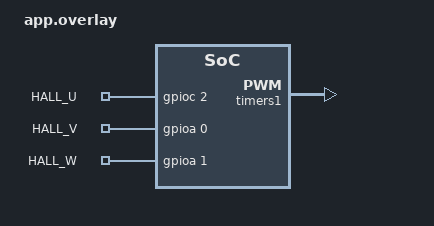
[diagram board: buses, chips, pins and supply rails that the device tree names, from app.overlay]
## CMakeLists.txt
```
cmake_minimum_required(VERSION 3.20.0)
find_package(Zephyr REQUIRED HINTS $ENV{ZEPHYR_BASE})
project(remote_motor_fw)

zephyr_include_directories(${CMAKE_CURRENT_SOURCE_DIR}/include)

target_sources(app PRIVATE
  src/main.c
  src/bluetooth/bluetooth.c
  src/watchdog/watchdog.c
  src/motor/motor.c

  src/motor_control/motor_control.c
  src/motor_control/pid.c

  src/motor_control/bldc_driver.c
  #src/simulation/bldc_driver_sim.c
)
```

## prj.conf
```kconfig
# =============================================================================
# prj.conf — STM32WB55 BLDC Motor Controller
#
# The STM32WB55 is a DUAL-CORE chip:
#   Cortex-M4  @ 64 MHz — runs this Zephyr application (motor + BLE host)
#   Cortex-M0+ @ 32 MHz — runs the ST BLE coprocessor firmware (HCI layer)
#
# BLE on the WB55 works completely differently from a single-core STM32:
#   - The M0+ handles all RF/PHY/LL work via ST's closed-source coprocessor binary
#   - The M4 (Zephyr) talks to the M0+ over IPCC (inter-processor communication)
#   - Zephyr uses the CONFIG_BT_STM32_IPM driver for this — NOT a software stack
#   - CONFIG_BT_LL_SW_SPLIT must NOT be set (that's for chips with no coprocessor)
#
# CRITICAL HARDWARE STEP before this firmware will work:
#   Flash the M0+ coprocessor with the HCI-only binary from STM32CubeWB:
#   File: stm32wb5x_BLE_HCILayer_extended_fw.bin   (use "extended" variant)
#   Tool: STM32CubeProgrammer → Firmware Upgrade Services
#   Address: see hal_stm32/lib/stm32wb/README.rst for exact flash address
#   WARNING: Since STM32CubeWB V1.13.2, "Full Stack" binaries are NOT
#            compatible with Zephyr. Use HCI Layer only.
# =============================================================================

# =============================================================================
# SYSTEM
# =============================================================================
CONFIG_MAIN_STACK_SIZE=4096
CONFIG_SYSTEM_WORKQUEUE_STACK_SIZE=2048

# Minimal libc is sufficient — printf replaced with LOG_DBG throughout
CONFIG_MINIMAL_LIBC=y

# FPU: WB55 Cortex-M4 has hardware FPU — enable it for float PID math
CONFIG_FPU=y
CONFIG_FPU_SHARING=y

# =============================================================================
# BLUETOOTH — STM32WB55 IPM (inter-processor mailbox) driver
#
# On the WB55 the board DTS already selects CONFIG_BT_STM32_IPM automatically
# when CONFIG_BT=y. These settings below configure the host layer on the M4.
# =============================================================================
CONFIG_BT=y
CONFIG_BT_PERIPHERAL=y
CONFIG_BT_DEVICE_NAME="MOTORSRV"

# DO NOT enable CONFIG_BT_LL_SW_SPLIT — that enables a software BLE controller
# which conflicts with the WB55's hardware M0+ coprocessor via IPM.

# Extended advertising not needed for a simple connectable peripheral
CONFIG_BT_EXT_ADV=n

# Let the stack negotiate optimal connection parameters after linking
CONFIG_BT_GAP_AUTO_UPDATE_CONN_PARAMS=y

# Increase RX buffer count — the IPM transport can burst multiple packets
# before the M4 processes them; default of 3 can cause drops under load
CONFIG_BT_BUF_ACL_RX_COUNT=6

# ATT prepare queue — needed for reliable multi-packet GATT writes
CONFIG_BT_ATT_PREPARE_COUNT=2

# IPCC mailbox driver (automatically selected by board DTS, listed for clarity)
# CONFIG_IPM=y                    ← set by board
# CONFIG_IPM_STM32_HSEM=y         ← set by board
# CONFIG_BT_STM32_IPM=y           ← set by board

# =============================================================================
# HARDWARE PERIPHERALS
# =============================================================================
CONFIG_GPIO=y
CONFIG_PINCTRL=y
CONFIG_HWINFO=y          # Used in bluetooth.c for unique device ID in MSD

# PWM node declared in overlay for pin mux only; LL API drives TIM1 directly
CONFIG_PWM=y
CONFIG_PWM_STM32=y

# ADC not used — re-enable with CONFIG_ADC_STM32=y if current sensing is added
# CONFIG_ADC=y

# =============================================================================
# SERIAL CONSOLE
# USART1 on PA9/PA10 is the default console on WB55 boards.
# Note: PA9/PA10 are also TIM1_CH2/CH3. If you're using USART1 for debug,
# move your PWM outputs or your console UART to different pins.
# =============================================================================
CONFIG_SERIAL=y
CONFIG_CONSOLE=y
CONFIG_UART_CONSOLE=y
CONFIG_STDOUT_CONSOLE=y

# =============================================================================
# LOGGING
# =============================================================================
CONFIG_LOG=y
CONFIG_LOG_BACKEND_UART=y

# CRITICAL: Deferred mode — log calls return immediately, background thread
# does the UART work. Without this, LOG_x() in the 100Hz PID loop blocks
# inline and destroys control timing.
CONFIG_LOG_MODE_DEFERRED=y

# 4KB buffer: holds queued messages from PID thread (3 logs/cycle @ 100Hz)
# plus BLE connection events. 2KB is too small and drops messages.
CONFIG_LOG_BUFFER_SIZE=4096

CONFIG_LOG_PRINTK=y
CONFIG_PRINTK=y

# 0=off  1=error  2=warn  3=info  4=debug
CONFIG_LOG_DEFAULT_LEVEL=3

# Per-module overrides — uncomment to debug specific subsystems:
# CONFIG_BT_LOG_LEVEL=2
# CONFIG_LOG_OVERRIDE_LEVEL=4    # forces all modules to debug (very verbose)

# =============================================================================
# DEVELOPMENT / DEBUG — disable before production release
# =============================================================================

# Stack canary: panics with a clear message on overflow instead of silent
# memory corruption. Essential during development on all threads.
CONFIG_STACK_SENTINEL=y

# Thread analyzer: shows high-water stack usage per thread.
# Run once to verify STACK_SIZE values, then disable.
# CONFIG_THREAD_ANALYZER=y
# CONFIG_THREAD_ANALYZER_AUTO=y
# CONFIG_THREAD_ANALYZER_AUTO_INTERVAL=30

# Hardware watchdog — feeds independently of BLE watchdog; resets the
# entire chip if ANY thread hangs (PID, telemetry, or BLE host thread)
# CONFIG_WATCHDOG=y
# CONFIG_WDT_DISABLE_AT_BOOT=n
```

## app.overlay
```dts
/*
 * app.overlay — STM32WB55 BLDC Motor Controller
 *
 * CPU:   Cortex-M4 @ 64 MHz (via PLL from 32 MHz HSE)
 * TIM1:  on APB2 — clock = 64 MHz (APB2 prescaler = 1, no x2 multiplier)
 *        ARR = 3200 → PWM freq = 64,000,000 / 3200 = 20 kHz  ✓
 *
 * NOTE: The original code had TIM1_ARR=1500 assuming a 30MHz clock.
 *       On the WB55 running at 64MHz with APB2 prescaler=1, ARR must be
 *       3200 to maintain 20kHz. Update TIM1_ARR in bldc_driver.c to 3200
 *       and the dead-time / RPM scale factor accordingly.
 *
 * RPM scale factor with ARR=3200:
 *   bldc_percent_to_pulse: pulse = percent * (3200 / 100.0) = percent * 32.0f
 *   Update bldc_percent_to_pulse() in bldc_driver.c to use 32.0f instead of 15.0f
 *
 * Dead-time at 64MHz: 50 ticks = 50/64MHz = ~781ns — acceptable for most
 * gate drivers. Increase if your gate driver bootstrap needs more hold time.
 */

/ {
    aliases {
        hall-u = &hall_u_pin;
        hall-v = &hall_v_pin;
        hall-w = &hall_w_pin;
    };

    /*
     * Hall sensors as gpio-keys.
     * Pull resistors are configured at runtime in bldc_driver.c via
     * GPIO_INPUT | GPIO_PULL_UP. Do NOT duplicate pull flags here.
     */
    hall_sensors {
        compatible = "gpio-keys";

        hall_u_pin: hall_u {
            gpios = <&gpioc 2 GPIO_ACTIVE_HIGH>;  /* PC2 */
            label = "HALL_U";
        };
        hall_v_pin: hall_v {
            gpios = <&gpioa 0 GPIO_ACTIVE_HIGH>;  /* PA0 */
            label = "HALL_V";
        };
        hall_w_pin: hall_w {
            gpios = <&gpioa 1 GPIO_ACTIVE_HIGH>;  /* PA1 */
            label = "HALL_W";
        };
    };
};

/*
 * Clock tree for STM32WB55 (must match prj.conf RCC settings):
 *   HSE = 32 MHz → PLL (×2) → SYSCLK = 64 MHz
 *   AHB  prescaler = 1 → HCLK  = 64 MHz
 *   APB1 prescaler = 1 → PCLK1 = 64 MHz  (TIM2/LPTIM used for Zephyr tick)
 *   APB2 prescaler = 1 → PCLK2 = 64 MHz  (TIM1 lives here)
 *
 * On STM32WB55 the APB timer multiplier (×2) only activates when the APB
 * prescaler > 1. With prescaler = 1, TIM1 clock = PCLK2 = 64 MHz exactly.
 */
&rcc {
    clocks = <&pll>;
    clock-frequency = <DT_FREQ_M(64)>;
    cpu1-prescaler  = <1>;
    cpu2-prescaler  = <2>;   /* M0+ BLE coprocessor runs at 32 MHz */
    ahb4-prescaler  = <1>;
    apb1-prescaler  = <1>;
    apb2-prescaler  = <1>;
};

&pll {
    div-m  = <2>;   /* HSE 32MHz / 2 = 16 MHz VCO input        */
    mul-n  = <8>;   /* 16 MHz × 8   = 128 MHz VCO output       */
    div-q  = <2>;   /* 128 / 2      = 64 MHz (USB/RNG clock)   */
    div-r  = <2>;   /* 128 / 2      = 64 MHz SYSCLK            */
    clocks = <&clk_hse>;
    status = "okay";
};

/*
 * TIM1 — Advanced Motor Control Timer @ 64 MHz
 *
 * The pwm child node exists only to trigger Zephyr's pinctrl driver to
 * configure AF muxing at boot. All register-level PWM control is done
 * directly in bldc_driver.c via the STM32 LL API.
 */
&timers1 {
    status = "okay";

    pwm1: pwm {
        status = "okay";
        pinctrl-0 = <&pwm1_ch1_pa8   &pwm1_ch2_pa9   &pwm1_ch3_pa10
                     &pwm1_ch1n_pb13  &pwm1_ch2n_pb14  &pwm1_ch3n_pb15>;
        pinctrl-names = "default";
    };
};

/*
 * Pin multiplexing — TIM1 PWM outputs
 *
 * PA8/9/10  = high-side (CH1/2/3)
 * PB13/14/15 = low-side complementary (CH1N/2N/3N)
 *
 * drive-push-pull is correct for actively driven AF output pins.
 * Do NOT use bias-pull-down — it fights the active driver and
 * degrades gate drive switching edges.
 */
&pinctrl {

    /* High-side switches */
    pwm1_ch1_pa8: pwm1_ch1_pa8 {
        pinmux = <STM32_PINMUX('A', 8,  AF1)>;  /* TIM1_CH1  — Phase U high */
        drive-push-pull;
    };
    pwm1_ch2_pa9: pwm1_ch2_pa9 {
        pinmux = <STM32_PINMUX('A', 9,  AF1)>;  /* TIM1_CH2  — Phase V high */
        drive-push-pull;
    };
    pwm1_ch3_pa10: pwm1_ch3_pa10 {
        pinmux = <STM32_PINMUX('A', 10, AF1)>;  /* TIM1_CH3  — Phase W high */
        drive-push-pull;
    };

    /* Low-side switches (complementary) */
    pwm1_ch1n_pb13: pwm1_ch1n_pb13 {
        pinmux = <STM32_PINMUX('B', 13, AF1)>;  /* TIM1_CH1N — Phase U low */
        drive-push-pull;
    };
    pwm1_ch2n_pb14: pwm1_ch2n_pb14 {
        pinmux = <STM32_PINMUX('B', 14, AF1)>;  /* TIM1_CH2N — Phase V low */
        drive-push-pull;
    };
    pwm1_ch3n_pb15: pwm1_ch3n_pb15 {
        pinmux = <STM32_PINMUX('B', 15, AF1)>;  /* TIM1_CH3N — Phase W low */
        drive-push-pull;
    };
};
```

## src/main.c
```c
#include <zephyr/types.h>
#include <stddef.h>
#include <string.h>
#include <errno.h>
#include <zephyr/sys/printk.h>
#include <zephyr/kernel.h>
#include <zephyr/drivers/gpio.h>
#include <zephyr/logging/log.h>
#include <zephyr/drivers/hwinfo.h>
#include <stdio.h>

#include "bluetooth.h"
#include "watchdog.h"
#include "motor.h"
#include "bldc_driver.h"
#include "motor_control.h"


LOG_MODULE_REGISTER(main, LOG_LEVEL_INF);


int main(void)
{
    LOG_INF("Starting BLDC Hardware Motor Control Application");    

    // Initialize the Motor Data Structures (Safe API Vault)
    motor_init(); 

    // Initialize Real Hardware (PWM & ADC peripherals)
    int hw_err = bldc_driver_init();
    if (hw_err != 0) {
        LOG_ERR("Hardware init failed! Check Device Tree. (err %d)", hw_err);
        // Depending on your safety requirements, you might want to halt here.
        return 0; 
    }

    // Start the Real Motor Control Threads (Commutation, Hall Monitor, PID)
    motor_control_init();

    // Initialize Bluetooth
    int err = bt_enable(bt_ready);
    if (err) {
        LOG_ERR("Bluetooth init failed (err %d)", err);
        return 0;
    }

    // Register Callbacks & Start Watchdog
    bt_conn_cb_register(&conn_callbacks);
    watchdog_init();

    LOG_INF("System Boot Complete. Waiting for Bluetooth connection...");

    return 0;
}
```

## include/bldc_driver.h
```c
#ifndef BLDC_DRIVER_H
#define BLDC_DRIVER_H

#include <stdint.h>
#include <stdbool.h>
#include <zephyr/sys/atomic.h>

extern atomic_t g_motor_speed_atomic;

/* ========================================================================= *
 * BLDC DRIVER — Public API                                                  *
 * ========================================================================= */

/** @brief Initialise GPIOs, TIM1, and hall sensor ISRs. Call once at boot.
 *  @return 0 on success, negative errno on failure.
 */
int bldc_driver_init(void);

/** @brief Set PWM pulse width directly (0 – TIM1_ARR).
 *  @param pulse Raw timer compare value; clamped internally.
 */
void bldc_set_pwm(int pulse);

/** @brief Apply the correct phase switching pattern for the given hall step.
 *  @param step  Hall state (1–6 CW, 9–14 CCW). Invalid states are ignored.
 */
void bldc_set_commutation(uint8_t step);

/** @brief Read the three hall sensor GPIOs and return a 3-bit state (0–7).
 *  @return Combined state: (U<<2)|(V<<1)|W. Caller must reject 0 and 7.
 */
int bldc_read_hall_state(void);

/** @brief Convert a PWM duty-cycle percentage to a raw timer pulse value.
 *  @param percent_duty_cycle  0.0 – 100.0 %
 *  @return Raw pulse value clamped to [0, TIM1_ARR].
 */
int bldc_percent_to_pulse(float percent_duty_cycle);

/** @brief Return the CPU cycle count captured at the last valid hall edge.
 *  @note  Returns an atomic snapshot; safe to call from any thread.
 */
uint32_t bldc_get_last_cycle_count(void);

/** @brief Set motor rotation direction.
 *  @param ccw  0 = clockwise, 1 = counter-clockwise.
 */
void bldc_set_direction(int ccw);

#endif /* BLDC_DRIVER_H */
```

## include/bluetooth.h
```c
#ifndef BLUETOOTH_H
#define BLUETOOTH_H

#include <stdbool.h>
#include <zephyr/types.h>
#include <zephyr/bluetooth/bluetooth.h>
#include <zephyr/bluetooth/conn.h>
#include <zephyr/bluetooth/gatt.h>
#include <zephyr/bluetooth/uuid.h>

/* ========================================================================= *
 * COMPANY & SERVICE IDENTIFIERS                                             *
 * ========================================================================= */

#define MY_COMPANY_ID 0x706D   // Manufacturer-specific data company ID

/* 128-bit service and characteristic UUIDs */
#define BT_UUID_MOTOR_SERVICE_VAL \
    BT_UUID_128_ENCODE(0xc52081ba, 0xe90f, 0x40e4, 0xa99f, 0xccaa4fd11c15)

#define BT_UUID_MOTOR_CMD_VAL \
    BT_UUID_128_ENCODE(0xd10b46cd, 0x412a, 0x4d15, 0xa7bb, 0x092a329eed46)

#define BT_UUID_MOTOR_TELEMETRY_VAL \
    BT_UUID_128_ENCODE(0x17da15e5, 0x05b1, 0x42df, 0x8d9d, 0xd7645d6d9293)

#define BT_UUID_MOTOR_HEARTBEAT_VAL \
    BT_UUID_128_ENCODE(0x2215d558, 0xc569, 0x4bd1, 0x8947, 0xb4fd5f9432a0)

/* ========================================================================= *
 * BLE COMMAND OPCODES                                                       *
 * Sent as the first byte of a write to the CMD characteristic.             *
 * ========================================================================= */
typedef enum {
    MOTOR_MODE_OFF      = 0x00,
    MOTOR_MODE_INIT     = 0x01,
    MOTOR_MODE_SPEED    = 0x02,
    MOTOR_MODE_POSITION = 0x03,
} motor_cmd_t;

/* ========================================================================= *
 * APPLICATION CONTEXT                                                       *
 * ========================================================================= */

/** Internal BLE state. Do not access directly outside bluetooth.c. */
struct motor_app_ctx {
    bool    notification_enabled;   // True once client subscribes to telemetry
    uint8_t heartbeat_val;          // Last heartbeat counter value from phone
};

/* ========================================================================= *
 * PUBLIC API                                                                *
 * ========================================================================= */

/** @brief Bluetooth ready callback — pass to bt_enable().
 *  Initialises context, starts advertising, and logs status.
 */
void bt_ready(int err);

/** @brief Send a telemetry notification to the connected device.
 *  No-op if notifications are not enabled.
 */
void motor_notify_telemetry(void);

/** @brief Return the last heartbeat counter received from the phone. */
uint8_t bt_get_heartbeat(void);

/** @brief Return true if the client has subscribed to telemetry notifications. */
bool bt_is_notify_enabled(void);

/** Connection callbacks — must be registered in main.c via
 *  bt_conn_cb_register(&conn_callbacks).
 */
extern struct bt_conn_cb conn_callbacks;

#endif /* BLUETOOTH_H */
```

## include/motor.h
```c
#ifndef MOTOR_H_
#define MOTOR_H_

#include <zephyr/types.h>
#include <stdbool.h>

#define RPM_MAX     6000
#define RPM_MIN     -6000

// MOTOR STATUS ARCHITECTURE

// LOWER NIBBLE: MUTUALLY EXCLUSIVE MOTOR STATES (BITS 0-3) - WHAT IS THE MOTOR DOING (THIS IS THE ACTUAL TRUE STATE OF THE MOTOR)
#define MOTOR_STATE_STOPPED			0x00	// 0000
#define MOTOR_STATE_RUNNING_SPEED	0x01	// 0001 - MOTOR IS ATTEMPTING TO REACH A CERTAIN RPM
#define MOTOR_STATE_RUNNING_POS		0x02	// 0010 - MOTOR IS ATTEMPTING TO REACH A CERTAIN POS
#define MOTOR_STATE_ESTOP			0x03	// 0010 (EMERGENCY STOP)
#define MOTOR_STATE_RESTART			0x04	// 0100 (SOFT START/CALIBRATING)
#define MOTOR_STATE_FAULT			0x05	// 0101 (HARDWARE FAILURE)

#define MOTOR_STATE_MASK			0x0F	// 0000 1111 (ISOLATE THE MOTOR STATE)

// UPPER NIBBLE: DIAGNOSTIC FLAGS (BITS 4-7) - CHECK IF THERE ARE ANY WARNINGS/ISSUES REGARDING THE MOTOR
#define MOTOR_FLAG_SYNC_BAD			0x10	// 0001 0000 
#define MOTOR_FLAG_OVERHEAT			0x20	// 0010 0000
/** @todo ADD FLAG FOR MOTOR STALL -> ACTUAL RPM = 0, TARGET != 0; motor cannot move*/


#define MOTOR_FLAG_MASK				0xF0	// 1111 0000 - ISOLATE FLAGS



struct motor_stats{

	// SET POINTS - TARGETED VALUES FOR THE MOTOR
	uint8_t target_state;		// STATE THAT WE WANT THE MOTOR TO BE IN
	int32_t target_speed;		// REQUESTED RPM
	int32_t target_position;	// REQUESTED ANGLE

	// ACTUAL MOTOR STATS - FEEDBACK FROM THE HARDWARE, ACTUAL READINGS
	// STATUS OF MOTOR [FLAGS (4 bits) | STATE (4-bits)]
	uint8_t motor_status;

	// CURRENT SPEED OF MOTOR (RPM)
	int32_t current_speed;

	// CURRENT POSITION OF MOTOR (Degrees)
	int32_t current_position;

	// FILTERED SPEED OF MOTOR (RPM) 
	int32_t filtered_speed;
};


// PUBLIC API - MOTOR CONTROL
/** @brief Initialize motor hardware and clear stats */
void motor_init(void);

// ACTUAL MOTOR STAT SETTERS
/** @brief SET THE MOTOR'S RPM (THIS IS THE ACTUAL & TRUE VALUE OF THE MOTOR) */
void motor_set_speed(int32_t rpm);

void motor_set_filtered_speed(int32_t rpm);


/** @brief SET THE MOTOR'S POSITION (THIS IS THE ACTUAL VALUE OF THE MOTOR) */
void motor_set_position(int32_t degrees);

void motor_set_sync_warning(bool active);
void motor_set_overheat_warning(bool active);

/** @brief SET THE MOTOR INTO AN EMERGENCY STOP -> SET TARGET/ACTUAL STATE TO ESTOP AND TARGET SPEED TO 0 RPM*/
void motor_trigger_estop();

// TARGETED SETTERS
/** @brief SET THE DESIRED MOTOR RPM (STILL NEED TO SET THE TARGET STATE) */
void motor_set_target_speed(int32_t rpm);

/** @brief SET THE DESIRED MOTOR POSITION (STILL NEED TO SET THE TARGET STATE) */
void motor_set_target_position(int32_t degrees);




// PUBLIC API - GETTERS

// ACTUAL MOTOR STAT GETTERS
// STATUS
uint8_t motor_get_full_status(void);
bool motor_is_sync_bad(void);
bool motor_is_overheated(void);
// TELEMETRY
int32_t motor_get_speed(void);
int32_t motor_get_filtered_speed(void);
int32_t motor_get_position(void);

// TARGETED MOTOR STAT GETTERS
uint8_t motor_get_target_state(void);
int32_t motor_get_target_speed(void);
int32_t motor_get_target_position(void);

#endif
```

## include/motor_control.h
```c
#ifndef MOTOR_CONTROL_H
#define MOTOR_CONTROL_H

/**
 * @brief Initializes PWM, ADC, PID, and starts the motor threads
 * @return 0 on success, negative error code otherwise
 */
int motor_control_init(void);

#endif
```

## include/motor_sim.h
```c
#ifndef MOTOR_SIM_H_
#define MOTOR_SIM_H_

#include <zephyr/kernel.h>
#include <zephyr/types.h>
#include "bluetooth.h"


void motor_sim_init(void);

// SIMULATION TICK PROCESSING
void motor_sim_update(void);

#endif /* MOTOR_SIM_H_ */
```

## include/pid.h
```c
#ifndef PID_H
#define PID_H

/* ========================================================================= *
 * PID Controller                                                            *
 * ========================================================================= */

typedef struct {
    float kp, ki;
    float integral;
    float integral_limit;
    float out_min, out_max;

} pid_struct;

/** @brief Initialise all PID state. Must be called before pid_compute().
 *  @param pid      Pointer to pid_struct to initialise.
 *  @param kp       Proportional gain.
 *  @param ki       Integral gain.
 */
void pid_init(pid_struct *pid, float kp, float ki, float integral_limit,
     float out_min, float out_max);

float pid_compute(pid_struct *pid, float target, float measured, float dt);

void pid_reset(pid_struct *pid);

#endif /* PID_H */
```

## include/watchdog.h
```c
#ifndef WATCHDOG_H_
#define WATCHDOG_H_

#include <zephyr/kernel.h>

void watchdog_init(void);

void watchdog_kick(void);

void watchdog_stop(void);

#endif
```
